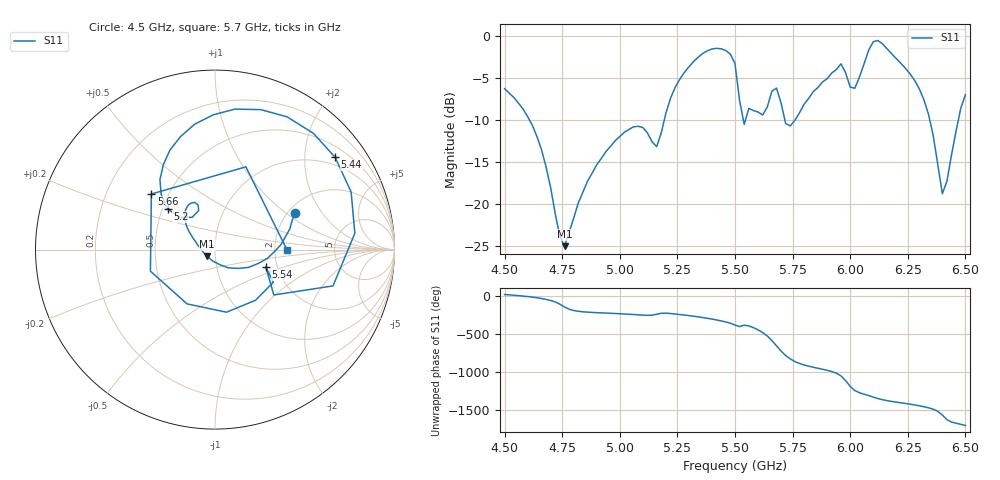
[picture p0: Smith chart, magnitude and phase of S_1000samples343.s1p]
! TOUCHSTONE file generated by CST MICROWAVE STUDIO
! Date and time: Thu Oct 27 20:29:43 2022
! Project name: L.cst
! Parameters = {Di=1.27; Epsilon_r=1.56; InnerDiameter=1.27; Length=2; Lf=10; Lg=60; OuterConductorThickness=0.2921; OuterDiameter=3.6; Wf=3; Wp=41.2; de=1.5; df=6.8; g=0.8; gx=1.27116; gy=0.709502; h=2.34; hf=1.524; px=12.0534; py=14.1899; w=9.7; wx=10.7823; wy=13.4804}
! Header version: 2018
! Port assignment regex: !\s*Touchstone port\s*([0-9]+)\s*=\s*(CST MWS port|CST DS port)\s*([0-9]+|Zmin|Zmax)\s*\(\"(.*)\"\)(\s*mode\s*([0-9]+))?.*
! Touchstone port assignment:
! Touchstone port 1 = CST MWS port 1 ("")
# GHz S DB R 50
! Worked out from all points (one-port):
!   101 points, 4.5 GHz to 6.5 GHz, reference 50 ohm
!   lowest |S11| = -25.0 dB at 4.76 GHz (marker M1), VSWR 1.12, Z = 45.8 - j3.33 ohm
!   |S11| at or under -10 dB: 4.609 GHz to 5.193 GHz (584.2 MHz wide, 11.9 % of centre); 5.717 GHz to 5.76 GHz (43.06 MHz wide, 0.75 % of centre); 6.346 GHz to 6.469 GHz (123.5 MHz wide, 1.93 % of centre) (the widest 3 of 4)
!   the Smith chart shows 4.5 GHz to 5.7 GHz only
!   S11 on the Smith chart (normalised r, x): 4.5 GHz: 2.17, +1.16; 5.2 GHz: 0.53, +0.27; 5.44 GHz: 0.77, +2.75; 5.54 GHz: 1.74, -0.37; 5.66 GHz: 0.40, +0.32; 5.7 GHz: 2.34, -0.00
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4.5  -6.23 24.6
4.64  -11.91 -17.6
4.76  -25.00 -139.8
5  -11.93 131.7
5.2  -9.16 139.4
5.26  -5.12 121.2
5.36  -2.04 81.9
5.44  -1.47 37.5
5.5  -3.25 -17.1
5.54  -10.49 -18.8
5.62  -9.37 -117.2
5.66  -6.54 138.8
5.68  -6.16 69.5
5.7  -7.94 -0.1
5.72  -10.40 -59.0
5.76  -9.99 -139.5
5.86  -6.09 133.3
5.94  -3.95 68.7
5.96  -3.27 32.7
5.98  -4.33 -29.3
6  -6.04 -106.0
6.06  -3.29 151.5
6.12  -0.49 94.5
6.18  -2.07 56.1
6.26  -4.47 19.7
6.34  -9.30 -27.9
6.4  -18.75 -123.5
6.5  -6.94 99.4
